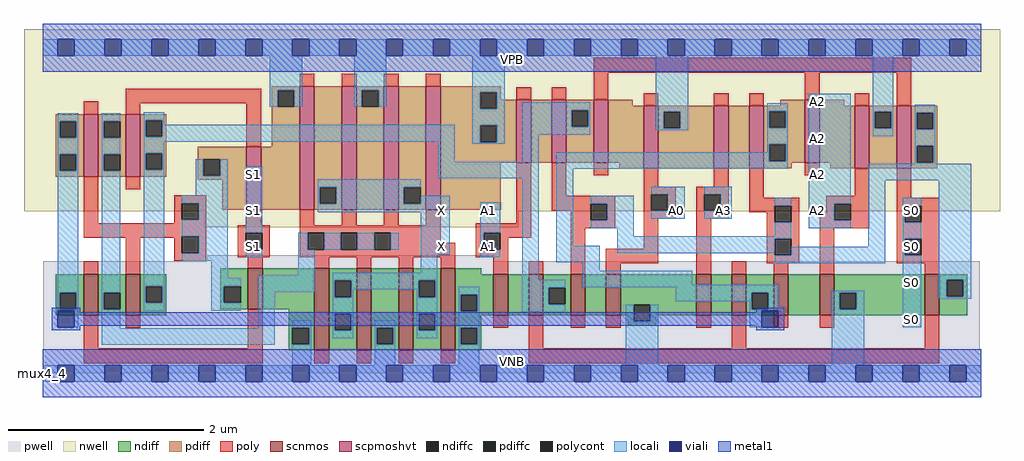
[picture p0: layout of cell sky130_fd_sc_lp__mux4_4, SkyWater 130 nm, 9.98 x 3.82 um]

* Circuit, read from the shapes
.subckt sky130_fd_sc_lp__mux4_4 A0 A1 A2 A3 S0 S1 VGND VNB VPB VPWR X
XM1 n1 S1 n2 VNB sky130_fd_pr__nfet_01v8 w=0.42 l=0.15
XM2 n3 n4 n1 VNB sky130_fd_pr__nfet_01v8 w=0.42 l=0.15
XM3 VGND S1 n4 VNB sky130_fd_pr__nfet_01v8 w=0.42 l=0.15
XM4 X n1 VGND VNB sky130_fd_pr__nfet_01v8 w=0.84 l=0.15 m=4
XM5 n5 A1 VGND VNB sky130_fd_pr__nfet_01v8 w=0.42 l=0.15
XM6 n3 S0 n5 VNB sky130_fd_pr__nfet_01v8 w=0.42 l=0.15
XM7 n6 n7 n3 VNB sky130_fd_pr__nfet_01v8 w=0.42 l=0.15
XM8 VGND A0 n6 VNB sky130_fd_pr__nfet_01v8 w=0.42 l=0.15
XM9 n8 A3 VGND VNB sky130_fd_pr__nfet_01v8 w=0.42 l=0.15
XM10 n2 S0 n8 VNB sky130_fd_pr__nfet_01v8 w=0.42 l=0.15
XM11 n9 n7 n2 VNB sky130_fd_pr__nfet_01v8 w=0.42 l=0.15
XM12 VGND A2 n9 VNB sky130_fd_pr__nfet_01v8 w=0.42 l=0.15
XM13 n7 S0 VGND VNB sky130_fd_pr__nfet_01v8 w=0.42 l=0.15
XM14 n1 n4 n2 VPB sky130_fd_pr__pfet_01v8_hvt w=0.64 l=0.15
XM15 n3 S1 n1 VPB sky130_fd_pr__pfet_01v8_hvt w=0.64 l=0.15
XM16 VPWR S1 n4 VPB sky130_fd_pr__pfet_01v8_hvt w=0.64 l=0.15
XM17 X n1 VPWR VPB sky130_fd_pr__pfet_01v8_hvt w=1.26 l=0.15 m=4
XM18 n10 A1 VPWR VPB sky130_fd_pr__pfet_01v8_hvt w=0.64 l=0.15
XM19 n3 n7 n10 VPB sky130_fd_pr__pfet_01v8_hvt w=0.64 l=0.15
XM20 n11 S0 n3 VPB sky130_fd_pr__pfet_01v8_hvt w=0.64 l=0.15
XM21 VPWR A0 n11 VPB sky130_fd_pr__pfet_01v8_hvt w=0.64 l=0.15
XM22 n12 A3 VPWR VPB sky130_fd_pr__pfet_01v8_hvt w=0.64 l=0.15
XM23 n2 n7 n12 VPB sky130_fd_pr__pfet_01v8_hvt w=0.64 l=0.15
XM24 n13 S0 n2 VPB sky130_fd_pr__pfet_01v8_hvt w=0.64 l=0.15
XM25 VPWR A2 n13 VPB sky130_fd_pr__pfet_01v8_hvt w=0.64 l=0.15
XM26 n7 S0 VPWR VPB sky130_fd_pr__pfet_01v8_hvt w=0.64 l=0.15
.ends

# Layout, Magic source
magic
tech sky130A
magscale 1 2
<< nwell >>
rect -38 331 1958 704
rect 331 299 973 331
<< pwell >>
rect 337 229 923 241
rect 1 49 1917 229
rect 0 0 1920 49
<< scnmos >>
rect 84 119 114 203
rect 170 119 200 203
rect 420 131 450 215
rect 556 47 586 215
rect 642 47 672 215
rect 728 47 758 215
rect 814 47 844 215
rect 922 119 952 203
rect 994 119 1024 203
rect 1080 119 1110 203
rect 1152 119 1182 203
rect 1337 119 1367 203
rect 1409 119 1439 203
rect 1495 119 1525 203
rect 1589 119 1619 203
rect 1804 119 1834 203
<< scpmoshvt >>
rect 84 402 114 530
rect 170 402 200 530
rect 417 335 447 463
rect 526 335 556 587
rect 612 335 642 587
rect 698 335 728 587
rect 784 335 814 587
rect 969 431 999 559
rect 1041 431 1071 559
rect 1127 431 1157 559
rect 1229 419 1259 547
rect 1373 419 1403 547
rect 1445 419 1475 547
rect 1559 431 1589 559
rect 1661 419 1691 547
rect 1747 419 1777 547
<< ndiff >>
rect 27 165 84 203
rect 27 131 35 165
rect 69 131 84 165
rect 27 119 84 131
rect 114 165 170 203
rect 114 131 125 165
rect 159 131 170 165
rect 114 119 170 131
rect 200 178 253 203
rect 200 144 211 178
rect 245 144 253 178
rect 200 119 253 144
rect 363 178 420 215
rect 363 144 371 178
rect 405 144 420 178
rect 363 131 420 144
rect 450 131 556 215
rect 503 93 556 131
rect 503 59 511 93
rect 545 59 556 93
rect 503 47 556 59
rect 586 190 642 215
rect 586 156 597 190
rect 631 156 642 190
rect 586 122 642 156
rect 586 88 597 122
rect 631 88 642 122
rect 586 47 642 88
rect 672 93 728 215
rect 672 59 683 93
rect 717 59 728 93
rect 672 47 728 59
rect 758 190 814 215
rect 758 156 769 190
rect 803 156 814 190
rect 758 122 814 156
rect 758 88 769 122
rect 803 88 814 122
rect 758 47 814 88
rect 844 203 897 215
rect 844 161 922 203
rect 844 127 855 161
rect 889 127 922 161
rect 844 119 922 127
rect 952 119 994 203
rect 1024 175 1080 203
rect 1024 141 1035 175
rect 1069 141 1080 175
rect 1024 119 1080 141
rect 1110 119 1152 203
rect 1182 140 1337 203
rect 1182 119 1209 140
rect 844 93 897 119
rect 844 59 855 93
rect 889 59 897 93
rect 844 47 897 59
rect 1197 106 1209 119
rect 1243 119 1337 140
rect 1367 119 1409 203
rect 1439 165 1495 203
rect 1439 131 1450 165
rect 1484 131 1495 165
rect 1439 119 1495 131
rect 1525 119 1589 203
rect 1619 165 1804 203
rect 1619 131 1630 165
rect 1664 131 1804 165
rect 1619 119 1804 131
rect 1834 191 1891 203
rect 1834 157 1849 191
rect 1883 157 1891 191
rect 1834 119 1891 157
rect 1243 106 1255 119
rect 1197 98 1255 106
<< pdiff >>
rect 27 516 84 530
rect 27 482 35 516
rect 69 482 84 516
rect 27 448 84 482
rect 27 414 35 448
rect 69 414 84 448
rect 27 402 84 414
rect 114 516 170 530
rect 114 482 125 516
rect 159 482 170 516
rect 114 448 170 482
rect 114 414 125 448
rect 159 414 170 448
rect 114 402 170 414
rect 200 518 253 530
rect 200 484 211 518
rect 245 484 253 518
rect 200 450 253 484
rect 469 579 526 587
rect 469 545 481 579
rect 515 545 526 579
rect 469 463 526 545
rect 200 416 211 450
rect 245 416 253 450
rect 200 402 253 416
rect 317 438 417 463
rect 317 404 329 438
rect 363 404 417 438
rect 317 396 417 404
rect 367 335 417 396
rect 447 335 526 463
rect 556 381 612 587
rect 556 347 567 381
rect 601 347 612 381
rect 556 335 612 347
rect 642 579 698 587
rect 642 545 653 579
rect 687 545 698 579
rect 642 335 698 545
rect 728 381 784 587
rect 728 347 739 381
rect 773 347 784 381
rect 728 335 784 347
rect 814 575 937 587
rect 814 541 895 575
rect 929 559 937 575
rect 929 541 969 559
rect 814 507 969 541
rect 814 473 895 507
rect 929 473 969 507
rect 814 431 969 473
rect 999 431 1041 559
rect 1071 538 1127 559
rect 1071 504 1082 538
rect 1116 504 1127 538
rect 1071 431 1127 504
rect 1157 547 1207 559
rect 1509 547 1559 559
rect 1157 431 1229 547
rect 814 335 937 431
rect 1179 419 1229 431
rect 1259 535 1373 547
rect 1259 501 1270 535
rect 1304 501 1373 535
rect 1259 419 1373 501
rect 1403 419 1445 547
rect 1475 536 1559 547
rect 1475 502 1486 536
rect 1520 502 1559 536
rect 1475 468 1559 502
rect 1475 434 1486 468
rect 1520 434 1559 468
rect 1475 431 1559 434
rect 1589 547 1639 559
rect 1589 431 1661 547
rect 1475 419 1532 431
rect 1611 419 1661 431
rect 1691 535 1747 547
rect 1691 501 1702 535
rect 1736 501 1747 535
rect 1691 419 1747 501
rect 1777 533 1830 547
rect 1777 499 1788 533
rect 1822 499 1830 533
rect 1777 465 1830 499
rect 1777 431 1788 465
rect 1822 431 1830 465
rect 1777 419 1830 431
<< ndiffc >>
rect 35 131 69 165
rect 125 131 159 165
rect 211 144 245 178
rect 371 144 405 178
rect 511 59 545 93
rect 597 156 631 190
rect 597 88 631 122
rect 683 59 717 93
rect 769 156 803 190
rect 769 88 803 122
rect 855 127 889 161
rect 1035 141 1069 175
rect 855 59 889 93
rect 1209 106 1243 140
rect 1450 131 1484 165
rect 1630 131 1664 165
rect 1849 157 1883 191
<< pdiffc >>
rect 35 482 69 516
rect 35 414 69 448
rect 125 482 159 516
rect 125 414 159 448
rect 211 484 245 518
rect 481 545 515 579
rect 211 416 245 450
rect 329 404 363 438
rect 567 347 601 381
rect 653 545 687 579
rect 739 347 773 381
rect 895 541 929 575
rect 895 473 929 507
rect 1082 504 1116 538
rect 1270 501 1304 535
rect 1486 502 1520 536
rect 1486 434 1520 468
rect 1702 501 1736 535
rect 1788 499 1822 533
rect 1788 431 1822 465
<< poly >>
rect 1127 615 1777 645
rect 526 587 556 613
rect 612 587 642 613
rect 698 587 728 613
rect 784 587 814 613
rect 84 530 114 556
rect 170 552 447 582
rect 170 530 200 552
rect 417 463 447 552
rect 84 307 114 402
rect 170 376 200 402
rect 269 348 335 364
rect 269 314 285 348
rect 319 314 335 348
rect 969 559 999 585
rect 1041 559 1071 585
rect 1127 559 1157 615
rect 1229 547 1259 573
rect 1373 547 1403 573
rect 1445 547 1475 573
rect 1559 559 1589 615
rect 269 307 335 314
rect 84 280 335 307
rect 417 303 447 335
rect 526 303 556 335
rect 612 303 642 335
rect 698 303 728 335
rect 784 303 814 335
rect 969 307 999 431
rect 1041 363 1071 431
rect 1127 405 1157 431
rect 1661 547 1691 573
rect 1747 547 1777 615
rect 1229 382 1259 419
rect 1373 382 1403 419
rect 1229 366 1295 382
rect 1041 347 1171 363
rect 1041 333 1121 347
rect 84 277 285 280
rect 84 203 114 229
rect 170 203 200 277
rect 269 246 285 277
rect 319 246 335 280
rect 269 230 335 246
rect 399 287 465 303
rect 399 253 415 287
rect 449 253 465 287
rect 399 237 465 253
rect 526 287 814 303
rect 526 253 542 287
rect 576 253 610 287
rect 644 253 678 287
rect 712 267 814 287
rect 886 287 999 307
rect 712 253 844 267
rect 526 237 844 253
rect 886 253 902 287
rect 936 277 999 287
rect 1080 313 1121 333
rect 1155 313 1171 347
rect 1080 297 1171 313
rect 1229 332 1245 366
rect 1279 332 1295 366
rect 1229 316 1295 332
rect 1337 366 1403 382
rect 1337 332 1353 366
rect 1387 332 1403 366
rect 1337 316 1403 332
rect 1445 359 1475 419
rect 1559 405 1589 431
rect 1661 363 1691 419
rect 1445 343 1547 359
rect 1445 329 1497 343
rect 936 253 952 277
rect 886 237 952 253
rect 420 215 450 237
rect 556 215 586 237
rect 642 215 672 237
rect 728 215 758 237
rect 814 215 844 237
rect 84 51 114 119
rect 170 93 200 119
rect 420 51 450 131
rect 84 21 450 51
rect 922 203 952 237
rect 994 203 1024 229
rect 1080 203 1110 297
rect 1229 255 1259 316
rect 1152 225 1259 255
rect 1152 203 1182 225
rect 1337 203 1367 316
rect 1481 309 1497 329
rect 1531 309 1547 343
rect 1603 347 1691 363
rect 1603 327 1619 347
rect 1481 275 1547 309
rect 1481 241 1497 275
rect 1531 241 1547 275
rect 1409 203 1439 229
rect 1481 225 1547 241
rect 1589 313 1619 327
rect 1653 313 1691 347
rect 1589 297 1691 313
rect 1747 359 1777 419
rect 1747 343 1834 359
rect 1747 309 1763 343
rect 1797 309 1834 343
rect 1495 203 1525 225
rect 1589 203 1619 297
rect 1747 275 1834 309
rect 1747 241 1763 275
rect 1797 241 1834 275
rect 1747 225 1834 241
rect 1804 203 1834 225
rect 922 93 952 119
rect 994 51 1024 119
rect 1080 93 1110 119
rect 1152 93 1182 119
rect 1337 93 1367 119
rect 1409 51 1439 119
rect 1495 93 1525 119
rect 1589 93 1619 119
rect 1804 51 1834 119
rect 556 21 586 47
rect 642 21 672 47
rect 728 21 758 47
rect 814 21 844 47
rect 994 21 1834 51
<< polycont >>
rect 285 314 319 348
rect 285 246 319 280
rect 415 253 449 287
rect 542 253 576 287
rect 610 253 644 287
rect 678 253 712 287
rect 902 253 936 287
rect 1121 313 1155 347
rect 1245 332 1279 366
rect 1353 332 1387 366
rect 1497 309 1531 343
rect 1497 241 1531 275
rect 1619 313 1653 347
rect 1763 309 1797 343
rect 1763 241 1797 275
<< locali >>
rect 0 649 31 683
rect 65 649 127 683
rect 161 649 223 683
rect 257 649 319 683
rect 353 649 415 683
rect 449 649 511 683
rect 545 649 607 683
rect 641 649 703 683
rect 737 649 799 683
rect 833 649 895 683
rect 929 649 991 683
rect 1025 649 1087 683
rect 1121 649 1183 683
rect 1217 649 1279 683
rect 1313 649 1375 683
rect 1409 649 1471 683
rect 1505 649 1567 683
rect 1601 649 1663 683
rect 1697 649 1759 683
rect 1793 649 1855 683
rect 1889 649 1920 683
rect 465 579 531 649
rect 465 545 481 579
rect 515 545 531 579
rect 637 579 703 649
rect 637 545 653 579
rect 687 545 703 579
rect 879 575 945 649
rect 879 541 895 575
rect 929 541 945 575
rect 31 516 73 532
rect 31 482 35 516
rect 69 482 73 516
rect 31 448 73 482
rect 31 414 35 448
rect 69 414 73 448
rect 31 165 73 414
rect 31 131 35 165
rect 69 131 73 165
rect 31 128 73 131
rect 65 94 73 128
rect 121 516 159 532
rect 121 482 125 516
rect 121 448 159 482
rect 121 414 125 448
rect 121 165 159 414
rect 121 131 125 165
rect 121 92 159 131
rect 207 518 249 534
rect 207 484 211 518
rect 245 508 249 518
rect 245 484 843 508
rect 207 474 843 484
rect 207 450 249 474
rect 207 416 211 450
rect 245 416 249 450
rect 207 178 249 416
rect 313 404 329 438
rect 363 404 379 438
rect 809 433 843 474
rect 879 507 945 541
rect 879 473 895 507
rect 929 473 945 507
rect 879 469 945 473
rect 981 538 1120 554
rect 981 504 1082 538
rect 1116 504 1120 538
rect 981 488 1120 504
rect 1254 535 1320 649
rect 1254 501 1270 535
rect 1304 501 1320 535
rect 1254 497 1320 501
rect 1482 536 1524 552
rect 1482 502 1486 536
rect 1520 502 1524 536
rect 981 433 1015 488
rect 1482 468 1524 502
rect 1482 452 1486 468
rect 313 364 379 404
rect 285 348 379 364
rect 319 314 379 348
rect 285 280 379 314
rect 319 246 379 280
rect 285 230 379 246
rect 415 287 449 424
rect 809 399 1015 433
rect 563 381 773 397
rect 563 347 567 381
rect 601 347 739 381
rect 773 347 833 363
rect 563 329 833 347
rect 415 237 449 253
rect 523 253 542 287
rect 576 253 610 287
rect 644 253 678 287
rect 712 253 728 287
rect 207 144 211 178
rect 245 144 249 178
rect 207 128 249 144
rect 345 194 379 230
rect 523 201 557 253
rect 773 242 833 329
rect 895 287 936 350
rect 895 253 902 287
rect 773 206 807 242
rect 895 237 936 253
rect 345 178 405 194
rect 345 144 371 178
rect 345 128 405 144
rect 441 167 557 201
rect 593 190 807 206
rect 441 92 475 167
rect 593 156 597 190
rect 631 172 769 190
rect 631 156 635 172
rect 593 122 635 156
rect 121 58 475 92
rect 511 93 549 109
rect 545 59 549 93
rect 593 88 597 122
rect 631 88 635 122
rect 765 156 769 172
rect 803 156 807 190
rect 981 191 1015 399
rect 1051 434 1486 452
rect 1520 434 1524 468
rect 1051 418 1524 434
rect 1051 261 1085 418
rect 1245 366 1313 382
rect 1121 347 1209 363
rect 1155 313 1209 347
rect 1279 332 1313 366
rect 1245 316 1313 332
rect 1353 366 1409 382
rect 1387 332 1409 366
rect 1353 316 1409 332
rect 1497 343 1531 359
rect 1121 297 1209 313
rect 1175 280 1209 297
rect 1497 280 1531 309
rect 1567 347 1653 572
rect 1698 535 1740 649
rect 1698 501 1702 535
rect 1736 501 1740 535
rect 1698 485 1740 501
rect 1784 533 1826 549
rect 1784 499 1788 533
rect 1822 499 1826 533
rect 1784 465 1826 499
rect 1784 431 1788 465
rect 1822 431 1826 465
rect 1784 429 1826 431
rect 1567 313 1619 347
rect 1567 297 1653 313
rect 1689 395 1899 429
rect 1175 275 1531 280
rect 1051 227 1139 261
rect 1175 246 1497 275
rect 1105 210 1139 227
rect 1689 259 1723 395
rect 1531 241 1723 259
rect 1497 225 1723 241
rect 1759 343 1797 359
rect 1759 309 1763 343
rect 1759 275 1797 309
rect 1759 241 1763 275
rect 765 122 807 156
rect 593 72 635 88
rect 679 93 721 109
rect 511 17 549 59
rect 679 59 683 93
rect 717 59 721 93
rect 765 88 769 122
rect 803 88 807 122
rect 765 72 807 88
rect 851 161 893 177
rect 851 127 855 161
rect 889 127 893 161
rect 851 93 893 127
rect 981 175 1069 191
rect 1105 181 1329 210
rect 1105 176 1505 181
rect 981 141 1035 175
rect 1295 165 1505 176
rect 1295 147 1450 165
rect 981 125 1069 141
rect 679 17 721 59
rect 851 59 855 93
rect 889 59 893 93
rect 851 17 893 59
rect 1193 106 1209 140
rect 1243 106 1259 140
rect 1193 17 1259 106
rect 1446 131 1450 147
rect 1484 131 1505 165
rect 1446 128 1505 131
rect 1446 94 1471 128
rect 1614 165 1680 169
rect 1614 131 1630 165
rect 1664 131 1680 165
rect 1614 17 1680 131
rect 1759 94 1797 241
rect 1833 191 1899 395
rect 1833 157 1849 191
rect 1883 157 1899 191
rect 1833 153 1899 157
rect 0 -17 31 17
rect 65 -17 127 17
rect 161 -17 223 17
rect 257 -17 319 17
rect 353 -17 415 17
rect 449 -17 511 17
rect 545 -17 607 17
rect 641 -17 703 17
rect 737 -17 799 17
rect 833 -17 895 17
rect 929 -17 991 17
rect 1025 -17 1087 17
rect 1121 -17 1183 17
rect 1217 -17 1279 17
rect 1313 -17 1375 17
rect 1409 -17 1471 17
rect 1505 -17 1567 17
rect 1601 -17 1663 17
rect 1697 -17 1759 17
rect 1793 -17 1855 17
rect 1889 -17 1920 17
<< viali >>
rect 31 649 65 683
rect 127 649 161 683
rect 223 649 257 683
rect 319 649 353 683
rect 415 649 449 683
rect 511 649 545 683
rect 607 649 641 683
rect 703 649 737 683
rect 799 649 833 683
rect 895 649 929 683
rect 991 649 1025 683
rect 1087 649 1121 683
rect 1183 649 1217 683
rect 1279 649 1313 683
rect 1375 649 1409 683
rect 1471 649 1505 683
rect 1567 649 1601 683
rect 1663 649 1697 683
rect 1759 649 1793 683
rect 1855 649 1889 683
rect 31 94 65 128
rect 1471 94 1505 128
rect 31 -17 65 17
rect 127 -17 161 17
rect 223 -17 257 17
rect 319 -17 353 17
rect 415 -17 449 17
rect 511 -17 545 17
rect 607 -17 641 17
rect 703 -17 737 17
rect 799 -17 833 17
rect 895 -17 929 17
rect 991 -17 1025 17
rect 1087 -17 1121 17
rect 1183 -17 1217 17
rect 1279 -17 1313 17
rect 1375 -17 1409 17
rect 1471 -17 1505 17
rect 1567 -17 1601 17
rect 1663 -17 1697 17
rect 1759 -17 1793 17
rect 1855 -17 1889 17
<< metal1 >>
rect 0 683 1920 715
rect 0 649 31 683
rect 65 649 127 683
rect 161 649 223 683
rect 257 649 319 683
rect 353 649 415 683
rect 449 649 511 683
rect 545 649 607 683
rect 641 649 703 683
rect 737 649 799 683
rect 833 649 895 683
rect 929 649 991 683
rect 1025 649 1087 683
rect 1121 649 1183 683
rect 1217 649 1279 683
rect 1313 649 1375 683
rect 1409 649 1471 683
rect 1505 649 1567 683
rect 1601 649 1663 683
rect 1697 649 1759 683
rect 1793 649 1855 683
rect 1889 649 1920 683
rect 0 617 1920 649
rect 19 128 77 134
rect 19 94 31 128
rect 65 125 77 128
rect 1459 128 1517 134
rect 1459 125 1471 128
rect 65 97 1471 125
rect 65 94 77 97
rect 19 88 77 94
rect 1459 94 1471 97
rect 1505 94 1517 128
rect 1459 88 1517 94
rect 0 17 1920 49
rect 0 -17 31 17
rect 65 -17 127 17
rect 161 -17 223 17
rect 257 -17 319 17
rect 353 -17 415 17
rect 449 -17 511 17
rect 545 -17 607 17
rect 641 -17 703 17
rect 737 -17 799 17
rect 833 -17 895 17
rect 929 -17 991 17
rect 1025 -17 1087 17
rect 1121 -17 1183 17
rect 1217 -17 1279 17
rect 1313 -17 1375 17
rect 1409 -17 1471 17
rect 1505 -17 1567 17
rect 1601 -17 1663 17
rect 1697 -17 1759 17
rect 1793 -17 1855 17
rect 1889 -17 1920 17
rect 0 -49 1920 -17
<< labels >>
flabel pwell s 0 0 1920 49 0 FreeSans 200 0 0 0 VNB
port 8 nsew ground bidirectional
flabel nwell s 0 617 1920 666 0 FreeSans 200 0 0 0 VPB
port 9 nsew power bidirectional
rlabel comment s 0 0 0 0 4 mux4_4
flabel metal1 s 0 617 1920 666 0 FreeSans 340 0 0 0 VPWR
port 10 nsew power bidirectional
flabel metal1 s 0 0 1920 49 0 FreeSans 340 0 0 0 VGND
port 7 nsew ground bidirectional
flabel locali s 1279 316 1313 350 0 FreeSans 340 0 0 0 A0
port 1 nsew signal input
flabel locali s 895 242 929 276 0 FreeSans 340 0 0 0 A1
port 2 nsew signal input
flabel locali s 895 316 929 350 0 FreeSans 340 0 0 0 A1
port 2 nsew signal input
flabel locali s 1567 316 1601 350 0 FreeSans 340 0 0 0 A2
port 3 nsew signal input
flabel locali s 1567 390 1601 424 0 FreeSans 340 0 0 0 A2
port 3 nsew signal input
flabel locali s 1567 464 1601 498 0 FreeSans 340 0 0 0 A2
port 3 nsew signal input
flabel locali s 1567 538 1601 572 0 FreeSans 340 0 0 0 A2
port 3 nsew signal input
flabel locali s 1375 316 1409 350 0 FreeSans 340 0 0 0 A3
port 4 nsew signal input
flabel locali s 415 242 449 276 0 FreeSans 340 0 0 0 S1
port 6 nsew signal input
flabel locali s 415 316 449 350 0 FreeSans 340 0 0 0 S1
port 6 nsew signal input
flabel locali s 415 390 449 424 0 FreeSans 340 0 0 0 S1
port 6 nsew signal input
flabel locali s 1759 94 1793 128 0 FreeSans 340 0 0 0 S0
port 5 nsew signal input
flabel locali s 1759 168 1793 202 0 FreeSans 340 0 0 0 S0
port 5 nsew signal input
flabel locali s 1759 242 1793 276 0 FreeSans 340 0 0 0 S0
port 5 nsew signal input
flabel locali s 1759 316 1793 350 0 FreeSans 340 0 0 0 S0
port 5 nsew signal input
flabel locali s 799 242 833 276 0 FreeSans 340 0 0 0 X
port 11 nsew signal output
flabel locali s 799 316 833 350 0 FreeSans 340 0 0 0 X
port 11 nsew signal output
<< properties >>
string LEFsite unit
string LEFclass CORE
string FIXED_BBOX 0 0 1920 666
string GDS_FILE $PDKPATH/libs.ref/sky130_fd_sc_lp/gds/sky130_fd_sc_lp.gds
string LEFsymmetry X Y R90
string GDS_END 1536282
string GDS_START 1522208
<< end >>
